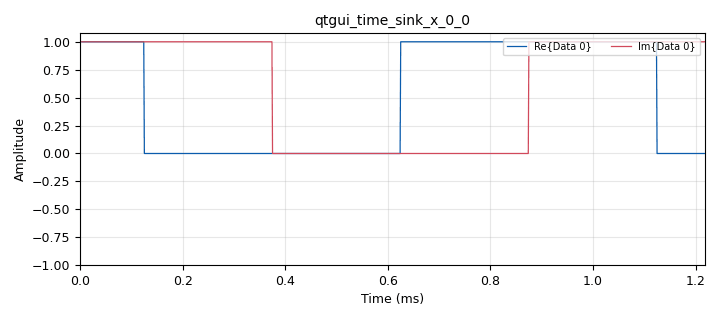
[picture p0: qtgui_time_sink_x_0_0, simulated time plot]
options:
  parameters:
    author: sara
    generate_options: qt_gui
    id: Sinus_TX
    output_language: python
    title: 'SInus_TX '
  states: {}

blocks:
- name: samp_rate
  id: variable
  parameters:
    value: 840e3
  states: {}
- name: analog_sig_source_x_0
  id: analog_sig_source_x
  parameters:
    amp: '1'
    freq: '1000'
    offset: '0'
    phase: '0'
    samp_rate: samp_rate
    type: complex
    waveform: analog.GR_SQR_WAVE
  states: {}
- name: qtgui_time_sink_x_0
  id: qtgui_time_sink_x
  parameters:
    size: '1024'
    srate: samp_rate
    type: complex
  states: {}
- name: qtgui_time_sink_x_0_0
  id: qtgui_time_sink_x
  parameters:
    size: '1024'
    srate: samp_rate
    type: complex
  states: {}
- name: uhd_usrp_sink_0
  id: uhd_usrp_sink
  parameters:
    ant0: TX/RX
    bw0: 200e3
    center_freq0: 223e6
    dev_addr: '"serial=309AF59  "'
    dev_args: '" "'
    gain0: '1'
    len_tag_name: ''
    norm_gain0: 'False'
    samp_rate: samp_rate
    sync: sync
    type: fc32
  states: {}
- name: uhd_usrp_source_1
  id: uhd_usrp_source
  parameters:
    ant0: TX/RX
    bw0: 200e3
    center_freq0: 223e6
    dc_offs_enb0: '""'
    dev_addr: '"serial=309AF6A"'
    dev_args: '""'
    gain0: '1'
    iq_imbal_enb0: '""'
    norm_gain0: 'False'
    samp_rate: samp_rate
    sync: sync
    type: fc32
  states: {}

connections:
- [analog_sig_source_x_0, '0', qtgui_time_sink_x_0_0, '0']
- [analog_sig_source_x_0, '0', uhd_usrp_sink_0, '0']
- [uhd_usrp_source_1, '0', qtgui_time_sink_x_0, '0']

metadata:
  file_format: 1
